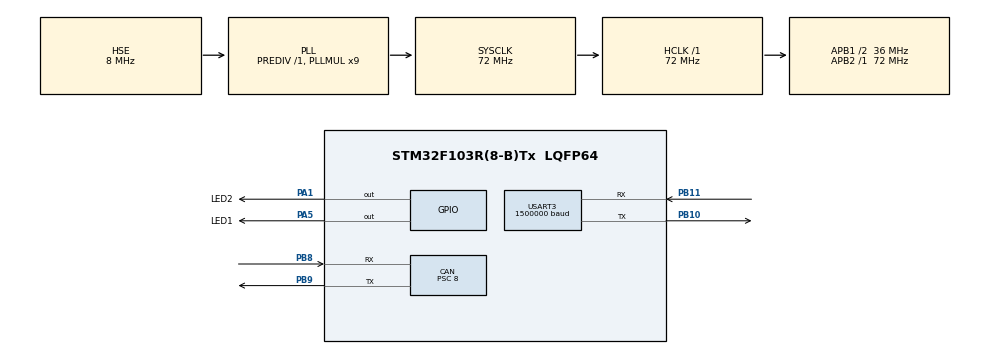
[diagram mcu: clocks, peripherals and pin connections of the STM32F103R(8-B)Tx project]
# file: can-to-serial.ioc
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CAN.ABOM=DISABLE
CAN.BS1=CAN_BS1_3TQ
CAN.BS2=CAN_BS2_5TQ
CAN.CalculateTimeBit=2000
CAN.CalculateTimeQuantum=222.22222222222223
CAN.Mode=CAN_MODE_SILENT_LOOPBACK
CAN.NART=ENABLE
CAN.Prescaler=8
CAN.TXFP=ENABLE
FREERTOS.Queues01=CAN_TO_SERIAL,16,CANMessage,NULL,Dynamic,NULL,NULL;SERIAL_TO_CAN,16,SMessage,NULL,Dynamic,NULL,NULL
FREERTOS.Tasks01=QToCAN,0,128,QToCANF,Default,NULL,Dynamic,NULL,NULL;QToSerial,0,128,QToSerialF,Default,NULL,Dynamic,NULL,NULL
FREERTOS.configTOTAL_HEAP_SIZE=10000
Mcu.Family=STM32F1
Mcu.Name=STM32F103R(8-B)Tx
Mcu.Package=LQFP64
NVIC.CAN1_RX1_IRQn=true\:5\:0\:true\:true\:true\:3\:true
NVIC.CAN1_SCE_IRQn=true\:5\:0\:true\:true\:true\:2\:true
NVIC.PriorityGroup=NVIC_PRIORITYGROUP_4
NVIC.RCC_IRQn=true\:5\:0\:false\:true\:true\:6\:true
NVIC.TIM1_UP_IRQn=true\:0\:0\:false\:false\:true\:false
NVIC.TimeBase=TIM1_UP_IRQn
NVIC.TimeBaseIP=TIM1
NVIC.USART3_IRQn=true\:5\:0\:true\:true\:true\:1\:true
NVIC.USB_HP_CAN1_TX_IRQn=true\:5\:0\:true\:true\:true\:5\:true
NVIC.USB_LP_CAN1_RX0_IRQn=true\:5\:0\:false\:true\:true\:4\:true
PA1.GPIO_Label=LED2
PA1.Signal=GPIO_Output
PA13.Mode=Serial_Wire
PA13.Signal=SYS_JTMS-SWDIO
PA14.Mode=Serial_Wire
PA14.Signal=SYS_JTCK-SWCLK
PA5.GPIO_Label=LED1
PA5.Signal=GPIO_Output
PB10.Mode=Asynchronous
PB10.Signal=USART3_TX
PB11.Mode=Asynchronous
PB11.Signal=USART3_RX
PB8.Mode=Master
PB8.Signal=CAN_RX
PB9.Mode=Master
PB9.Signal=CAN_TX
PD0-OSC_IN.Mode=HSE-External-Oscillator
PD0-OSC_IN.Signal=RCC_OSC_IN
PD1-OSC_OUT.Mode=HSE-External-Oscillator
PD1-OSC_OUT.Signal=RCC_OSC_OUT
ProjectManager.HeapSize=0x200
ProjectManager.StackSize=0x400
ProjectManager.TargetToolchain=MDK-ARM V5
RCC.AHBFreq_Value=72000000
RCC.APB1CLKDivider=RCC_HCLK_DIV2
RCC.APB1Freq_Value=36000000
RCC.APB1TimFreq_Value=72000000
RCC.APB2Freq_Value=72000000
RCC.APB2TimFreq_Value=72000000
RCC.HCLKFreq_Value=72000000
RCC.PLLMUL=RCC_PLL_MUL9
RCC.PLLSourceVirtual=RCC_PLLSOURCE_HSE
RCC.SYSCLKFreq_VALUE=72000000
RCC.SYSCLKSource=RCC_SYSCLKSOURCE_PLLCLK
RCC.USBFreq_Value=72000000
USART3.BaudRate=1500000
USART3.VirtualMode=VM_ASYNC
VP_CRC_VS_CRC.Mode=CRC_Activate
VP_FREERTOS_VS_ENABLE.Mode=Enabled
VP_SYS_VS_tim1.Mode=TIM1
board=can-to-serial

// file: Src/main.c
/**
  ******************************************************************************
  * File Name          : main.c
  * Description        : Main program body
  ******************************************************************************
  * This notice applies to any and all portions of this file
  * that are not between comment pairs USER CODE BEGIN and
  * USER CODE END. Other portions of this file, whether
  * inserted by the user or by software development tools
  * are owned by their respective copyright owners.
  *
  * Copyright (c) 2017 STMicroelectronics International N.V.
  * All rights reserved.
  *
  * Redistribution and use in source and binary forms, with or without
  * modification, are permitted, provided that the following conditions are met:
  *
  * 1. Redistribution of source code must retain the above copyright notice,
  *    this list of conditions and the following disclaimer.
  * 2. Redistributions in binary form must reproduce the above copyright notice,
  *    this list of conditions and the following disclaimer in the documentation
  *    and/or other materials provided with the distribution.
  * 3. Neither the name of STMicroelectronics nor the names of other
  *    contributors to this software may be used to endorse or promote products
  *    derived from this software without specific written permission.
  * 4. This software, including modifications and/or derivative works of this
  *    software, must execute solely and exclusively on microcontroller or
  *    microprocessor devices manufactured by or for STMicroelectronics.
  * 5. Redistribution and use of this software other than as permitted under
  *    this license is void and will automatically terminate your rights under
  *    this license.
  *
  * THIS SOFTWARE IS PROVIDED BY STMICROELECTRONICS AND CONTRIBUTORS "AS IS"
  * AND ANY EXPRESS, IMPLIED OR STATUTORY WARRANTIES, INCLUDING, BUT NOT
  * LIMITED TO, THE IMPLIED WARRANTIES OF MERCHANTABILITY, FITNESS FOR A
  * PARTICULAR PURPOSE AND NON-INFRINGEMENT OF THIRD PARTY INTELLECTUAL PROPERTY
  * RIGHTS ARE DISCLAIMED TO THE FULLEST EXTENT PERMITTED BY LAW. IN NO EVENT
  * SHALL STMICROELECTRONICS OR CONTRIBUTORS BE LIABLE FOR ANY DIRECT, INDIRECT,
  * INCIDENTAL, SPECIAL, EXEMPLARY, OR CONSEQUENTIAL DAMAGES (INCLUDING, BUT NOT
  * LIMITED TO, PROCUREMENT OF SUBSTITUTE GOODS OR SERVICES; LOSS OF USE, DATA,
  * OR PROFITS; OR BUSINESS INTERRUPTION) HOWEVER CAUSED AND ON ANY THEORY OF
  * LIABILITY, WHETHER IN CONTRACT, STRICT LIABILITY, OR TORT (INCLUDING
  * NEGLIGENCE OR OTHERWISE) ARISING IN ANY WAY OUT OF THE USE OF THIS SOFTWARE,
  * EVEN IF ADVISED OF THE POSSIBILITY OF SUCH DAMAGE.
  *
  ******************************************************************************
  */
#include "main.h"
#include "stm32f1xx_hal.h"
#include "cmsis_os.h"

/* USER CODE BEGIN Includes */
#include <string.h>
#include <stdlib.h>

/* USER CODE END Includes */

CAN_HandleTypeDef hcan;

CRC_HandleTypeDef hcrc;

UART_HandleTypeDef huart3;

osThreadId QToCANHandle;
osThreadId QToSerialHandle;
osMessageQId CAN_TO_SERIALHandle;
osMessageQId SERIAL_TO_CANHandle;

/* USER CODE BEGIN PV */
/* Private variables ---------------------------------------------------------*/

uint8_t serial_RX_Data[30];

uint8_t* pt_serialMessage;
uint8_t* pt_CANMessage;

uint8_t canLocked = 0;
uint8_t serialLocked = 0;

//skip fmi and fifo number;
uint8_t rxMessageSize = sizeof(CanRxMsgTypeDef) - 8;

static CanTxMsgTypeDef TxMessage;
static CanRxMsgTypeDef RxMessage;

/* USER CODE END PV */

void SystemClock_Config(void);
static void MX_GPIO_Init(void);
static void MX_USART3_UART_Init(void);
static void MX_CAN_Init(void);
static void MX_CRC_Init(void);
void QToCANF(void const * argument);
void QToSerialF(void const * argument);
static void MX_NVIC_Init(void);

/* USER CODE BEGIN PFP */
/* Private function prototypes -----------------------------------------------*/

/* USER CODE END PFP */

/* USER CODE BEGIN 0 */

void flushBuffers() {
    memset(&serial_RX_Data, 0x00, sizeof(serial_RX_Data));
}

/* USER CODE END 0 */

int main(void)
{

  /* MCU Configuration----------------------------------------------------------*/

  /* Reset of all peripherals, Initializes the Flash interface and the Systick. */
  HAL_Init();

  /* Configure the system clock */
  SystemClock_Config();

  /* Initialize all configured peripherals */
  MX_GPIO_Init();
  MX_USART3_UART_Init();
  MX_CAN_Init();
  MX_CRC_Init();

  /* Initialize interrupts */
  MX_NVIC_Init();

  /* USER CODE BEGIN 2 */

    CAN_FilterConfTypeDef f0FilterConfig;
    f0FilterConfig.FilterNumber = 0;
    f0FilterConfig.FilterMode = CAN_FILTERMODE_IDMASK;
    f0FilterConfig.FilterScale = CAN_FILTERSCALE_32BIT;
    f0FilterConfig.FilterIdHigh = 0x0000;
    f0FilterConfig.FilterIdLow = 0x0000;
    f0FilterConfig.FilterMaskIdHigh = 0x0000;
    f0FilterConfig.FilterMaskIdLow = 0x0000;
    f0FilterConfig.FilterFIFOAssignment = 0;
    f0FilterConfig.FilterActivation = ENABLE;
    f0FilterConfig.BankNumber = 13;

    CAN_FilterConfTypeDef f1FilterConfig;
    f1FilterConfig.FilterNumber = 0;
    f1FilterConfig.FilterMode = CAN_FILTERMODE_IDMASK;
    f1FilterConfig.FilterScale = CAN_FILTERSCALE_32BIT;
    f1FilterConfig.FilterIdHigh = 0x0000;
    f1FilterConfig.FilterIdLow = 0x0000;
    f1FilterConfig.FilterMaskIdHigh = 0x0000;
    f1FilterConfig.FilterMaskIdLow = 0x0000;
    f1FilterConfig.FilterFIFOAssignment = 1;
    f1FilterConfig.FilterActivation = ENABLE;
    f1FilterConfig.BankNumber = 14;

    HAL_CAN_ConfigFilter(&hcan, &f0FilterConfig);
    HAL_CAN_ConfigFilter(&hcan, &f1FilterConfig);

    hcan.pTxMsg = &TxMessage;
    hcan.pRxMsg = &RxMessage;

    flushBuffers();

    HAL_UART_Receive_IT(&huart3, serial_RX_Data, 30);
    HAL_CAN_Receive_IT(&hcan, CAN_FIFO1);

  /* USER CODE END 2 */

  /* Create the thread(s) */
  /* definition and creation of QToCAN */
  osThreadDef(QToCAN, QToCANF, osPriorityNormal, 0, 128);
  QToCANHandle = osThreadCreate(osThread(QToCAN), NULL);

  /* definition and creation of QToSerial */
  osThreadDef(QToSerial, QToSerialF, osPriorityNormal, 0, 128);
  QToSerialHandle = osThreadCreate(osThread(QToSerial), NULL);

  /* Create the queue(s) */
  /* definition and creation of CAN_TO_SERIAL */
  osMessageQDef(CAN_TO_SERIAL, 16, CANMessage);
  CAN_TO_SERIALHandle = osMessageCreate(osMessageQ(CAN_TO_SERIAL), NULL);

  /* definition and creation of SERIAL_TO_CAN */
  osMessageQDef(SERIAL_TO_CAN, 16, SMessage);
  SERIAL_TO_CANHandle = osMessageCreate(osMessageQ(SERIAL_TO_CAN), NULL);

  /* Start scheduler */
  osKernelStart();

  /* We should never get here as control is now taken by the scheduler */

  /* Infinite loop */
    while (1) {

    }

}

/** System Clock Configuration
*/
void SystemClock_Config(void)
{

  RCC_OscInitTypeDef RCC_OscInitStruct;
  RCC_ClkInitTypeDef RCC_ClkInitStruct;

    /**Initializes the CPU, AHB and APB busses clocks
    */
  RCC_OscInitStruct.OscillatorType = RCC_OSCILLATORTYPE_HSE;
  RCC_OscInitStruct.HSEState = RCC_HSE_ON;
  RCC_OscInitStruct.HSEPredivValue = RCC_HSE_PREDIV_DIV1;
  RCC_OscInitStruct.HSIState = RCC_HSI_ON;
  RCC_OscInitStruct.PLL.PLLState = RCC_PLL_ON;
  RCC_OscInitStruct.PLL.PLLSource = RCC_PLLSOURCE_HSE;
  RCC_OscInitStruct.PLL.PLLMUL = RCC_PLL_MUL9;
  if (HAL_RCC_OscConfig(&RCC_OscInitStruct) != HAL_OK)
  {
    _Error_Handler(__FILE__, __LINE__);
  }

    /**Initializes the CPU, AHB and APB busses clocks
    */
  RCC_ClkInitStruct.ClockType = RCC_CLOCKTYPE_HCLK|RCC_CLOCKTYPE_SYSCLK
                              |RCC_CLOCKTYPE_PCLK1|RCC_CLOCKTYPE_PCLK2;
  RCC_ClkInitStruct.SYSCLKSource = RCC_SYSCLKSOURCE_PLLCLK;
  RCC_ClkInitStruct.AHBCLKDivider = RCC_SYSCLK_DIV1;
  RCC_ClkInitStruct.APB1CLKDivider = RCC_HCLK_DIV2;
  RCC_ClkInitStruct.APB2CLKDivider = RCC_HCLK_DIV1;

  if (HAL_RCC_ClockConfig(&RCC_ClkInitStruct, FLASH_LATENCY_2) != HAL_OK)
  {
    _Error_Handler(__FILE__, __LINE__);
  }

    /**Configure the Systick interrupt time
    */
  HAL_SYSTICK_Config(HAL_RCC_GetHCLKFreq()/1000);

    /**Configure the Systick
    */
  HAL_SYSTICK_CLKSourceConfig(SYSTICK_CLKSOURCE_HCLK);

  /* SysTick_IRQn interrupt configuration */
  HAL_NVIC_SetPriority(SysTick_IRQn, 15, 0);
}

/** NVIC Configuration
*/
static void MX_NVIC_Init(void)
{
  /* USART3_IRQn interrupt configuration */
  HAL_NVIC_SetPriority(USART3_IRQn, 5, 0);
  HAL_NVIC_EnableIRQ(USART3_IRQn);
  /* CAN1_SCE_IRQn interrupt configuration */
  HAL_NVIC_SetPriority(CAN1_SCE_IRQn, 5, 0);
  HAL_NVIC_EnableIRQ(CAN1_SCE_IRQn);
  /* CAN1_RX1_IRQn interrupt configuration */
  HAL_NVIC_SetPriority(CAN1_RX1_IRQn, 5, 0);
  HAL_NVIC_EnableIRQ(CAN1_RX1_IRQn);
  /* USB_LP_CAN1_RX0_IRQn interrupt configuration */
  HAL_NVIC_SetPriority(USB_LP_CAN1_RX0_IRQn, 5, 0);
  HAL_NVIC_EnableIRQ(USB_LP_CAN1_RX0_IRQn);
  /* USB_HP_CAN1_TX_IRQn interrupt configuration */
  HAL_NVIC_SetPriority(USB_HP_CAN1_TX_IRQn, 5, 0);
  HAL_NVIC_EnableIRQ(USB_HP_CAN1_TX_IRQn);
  /* RCC_IRQn interrupt configuration */
  HAL_NVIC_SetPriority(RCC_IRQn, 5, 0);
  HAL_NVIC_EnableIRQ(RCC_IRQn);
}

/* CAN init function */
static void MX_CAN_Init(void)
{

  hcan.Instance = CAN1;
  hcan.Init.Prescaler = 8;
  hcan.Init.Mode = CAN_MODE_SILENT_LOOPBACK;
  hcan.Init.SJW = CAN_SJW_1TQ;
  hcan.Init.BS1 = CAN_BS1_3TQ;
  hcan.Init.BS2 = CAN_BS2_5TQ;
  hcan.Init.TTCM = DISABLE;
  hcan.Init.ABOM = DISABLE;
  hcan.Init.AWUM = DISABLE;
  hcan.Init.NART = ENABLE;
  hcan.Init.RFLM = DISABLE;
  hcan.Init.TXFP = ENABLE;
  if (HAL_CAN_Init(&hcan) != HAL_OK)
  {
    _Error_Handler(__FILE__, __LINE__);
  }

}

/* CRC init function */
static void MX_CRC_Init(void)
{

  hcrc.Instance = CRC;
  if (HAL_CRC_Init(&hcrc) != HAL_OK)
  {
    _Error_Handler(__FILE__, __LINE__);
  }

}

/* USART3 init function */
static void MX_USART3_UART_Init(void)
{

  huart3.Instance = USART3;
  huart3.Init.BaudRate = 115200;
  huart3.Init.WordLength = UART_WORDLENGTH_8B;
  huart3.Init.StopBits = UART_STOPBITS_1;
  huart3.Init.Parity = UART_PARITY_NONE;
  huart3.Init.Mode = UART_MODE_TX_RX;
  huart3.Init.HwFlowCtl = UART_HWCONTROL_NONE;
  huart3.Init.OverSampling = UART_OVERSAMPLING_16;
  if (HAL_UART_Init(&huart3) != HAL_OK)
  {
    _Error_Handler(__FILE__, __LINE__);
  }

}

/** Configure pins as
        * Analog
        * Input
        * Output
        * EVENT_OUT
        * EXTI
*/
static void MX_GPIO_Init(void)
{

  GPIO_InitTypeDef GPIO_InitStruct;

  /* GPIO Ports Clock Enable */
  __HAL_RCC_GPIOD_CLK_ENABLE();
  __HAL_RCC_GPIOA_CLK_ENABLE();
  __HAL_RCC_GPIOB_CLK_ENABLE();

  /*Configure GPIO pin Output Level */
  HAL_GPIO_WritePin(GPIOA, LED2_Pin|LED1_Pin, GPIO_PIN_RESET);

  /*Configure GPIO pins : LED2_Pin LED1_Pin */
  GPIO_InitStruct.Pin = LED2_Pin|LED1_Pin;
  GPIO_InitStruct.Mode = GPIO_MODE_OUTPUT_PP;
  GPIO_InitStruct.Speed = GPIO_SPEED_FREQ_LOW;
  HAL_GPIO_Init(GPIOA, &GPIO_InitStruct);

}

/* QToCANF function */
void QToCANF(void const * argument)
{

  /* USER CODE BEGIN 5 */
    CANMessage canMsg;

    /* Infinite loop */
    for (;;) {

        if (canLocked == 0 && xQueuePeek(SERIAL_TO_CANHandle, &canMsg, 10)) {
            uint8_t* msg = (uint8_t *) hcan.pTxMsg;
            uint8_t* data = canMsg.dataPointer;
            for (int i = 0; i < sizeof(CanTxMsgTypeDef); i++) {
              msg[i] = data[i];
            }

            HAL_StatusTypeDef r = HAL_CAN_Transmit_IT(&hcan);
            if (r == HAL_OK) {
                canLocked = 1;
            }
        }

        osDelay(1);
    }
  /* USER CODE END 5 */
}

/* QToSerialF function */
void QToSerialF(void const * argument)
{
  /* USER CODE BEGIN QToSerialF */
  SMessage sMessage;
    for (;;) {
        if (serialLocked == 0 && xQueuePeek(CAN_TO_SERIALHandle, &sMessage, 10)) {
            pt_serialMessage = malloc(rxMessageSize + 2);
            memcpy(pt_serialMessage + 1, sMessage.dataPointer, rxMessageSize);
            pt_serialMessage[rxMessageSize + 1] = '\n';
            pt_serialMessage[0] = '!';
            free(sMessage.dataPointer);
            HAL_StatusTypeDef r = HAL_UART_Transmit_IT(&huart3, pt_serialMessage, rxMessageSize + 2);
            if (r == HAL_OK) {
                serialLocked = 1;
            }
        }
      osDelay(1);
    }
  /* USER CODE END QToSerialF */
}

void HAL_TIM_PeriodElapsedCallback(TIM_HandleTypeDef *htim)
{
  if (htim->Instance == TIM1) {
    HAL_IncTick();
  }
}

void _Error_Handler(char * file, int line)
{
    while (1) {
    }
}

/************************ (C) COPYRIGHT STMicroelectronics *****END OF FILE****/
